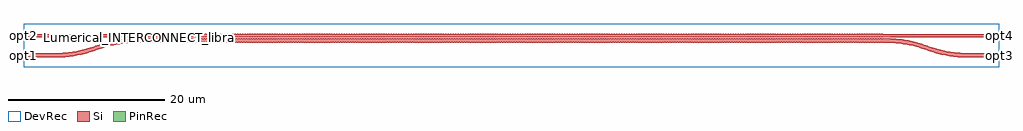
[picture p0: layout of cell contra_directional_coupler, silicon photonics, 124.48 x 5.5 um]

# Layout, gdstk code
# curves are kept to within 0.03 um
import gdstk
lib = gdstk.Library(unit=1e-6, precision=1e-09)
def R(c, l, rs):  # rectangles x0, y0, x1, y1
    for r in rs: c.add(gdstk.rectangle(r[:2], r[2:], *l))
def A(c, l, x, y, w, h, nx, ny, dx, dy):  # array of equal rectangles
    R(c, l, [(x+i*dx, y+j*dy, x+i*dx+w, y+j*dy+h) for i in range(nx) for j in range(ny)])
def P(c, l, *ps):  # polygons
    for p in ps: c.add(gdstk.Polygon(p, *l))
Si = (1, 0)
PinRec = (1, 10)
DevRec = (68, 0)

contra_directional_coupl = lib.new_cell('contra_directional_coupler')
A(contra_directional_coupl, Si, 0.158, -0.636, 0.158, 0.298, 300, 1, 0.316, 0)
A(contra_directional_coupl, Si, 0.316, -0.586, 0.158, 0.248, 300, 1, 0.316, 0)
A(contra_directional_coupl, Si, 0, -0.338, 0.158, 0.298, 300, 1, 0.316, 0)
A(contra_directional_coupl, Si, 0.158, -0.338, 0.158, 0.248, 300, 1, 0.316, 0)
A(contra_directional_coupl, Si, 0, 0.054, 0.158, 0.224, 300, 1, 0.316, 0)
A(contra_directional_coupl, Si, 0.158, 0.078, 0.158, 0.2, 300, 1, 0.316, 0)
A(contra_directional_coupl, Si, 0.158, 0.278, 0.158, 0.224, 300, 1, 0.316, 0)
A(contra_directional_coupl, Si, 0.316, 0.278, 0.158, 0.2, 300, 1, 0.316, 0)
R(contra_directional_coupl, Si, [(0,-0.611,0.158,-0.338), (94.8,-0.338,94.958,-0.066), (-5.5,0.066,0,0.49), (94.8,0.066,94.958,0.278), (94.958,0.066,100.458,0.49), (0,0.278,0.158,0.49)])
P(contra_directional_coupl, Si, [(105.69,-2.495),(104.138,-2.415),(102.602,-2.179),(101.346,-1.864),(99.175,-1.15),(97.713,-0.822),(96.474,-0.663),(94.958,-0.611),(94.958,-0.065),(96.52,-0.12),(97.805,-0.285),(99.321,-0.625),(101.501,-1.341),(102.712,-1.645),(104.442,-1.897),(105.958,-1.95),(105.958,-2.495)],
  [(105.958,-2.494),(105.958,-1.95),(109.708,-1.972),(109.708,-2.472)],
  [(109.708,0.028),(100.458,0.066),(100.458,0.49),(109.708,0.528)],
  [(-11,-2.495),(-11,-1.95),(-9.484,-1.897),(-7.754,-1.645),(-6.543,-1.341),(-4.363,-0.625),(-2.847,-0.285),(-1.562,-0.12),(0,-0.065),(0,-0.611),(-1.516,-0.663),(-3.246,-0.915),(-4.457,-1.219),(-6.637,-1.935),(-8.153,-2.275),(-9.438,-2.44)],
  [(-11,-2.494),(-14.75,-2.472),(-14.75,-1.972),(-11,-1.95)],
  [(-14.75,0.028),(-14.75,0.528),(-5.5,0.49),(-5.5,0.066)])
R(contra_directional_coupl, DevRec, [(-14.75,-3.722,109.708,1.778)])
contra_directional_coupl.add(gdstk.FlexPath([(-14.74,-2.222),(-14.76,-2.222)], 0.5, ends="flush", simple_path=True, layer=1, datatype=10))  # PinRec
contra_directional_coupl.add(gdstk.FlexPath([(-14.74,0.278),(-14.76,0.278)], 0.5, ends="flush", simple_path=True, layer=1, datatype=10))  # PinRec
contra_directional_coupl.add(gdstk.FlexPath([(109.698,-2.222),(109.718,-2.222)], 0.5, ends="flush", simple_path=True, layer=1, datatype=10))  # PinRec
contra_directional_coupl.add(gdstk.FlexPath([(109.698,0.278),(109.718,0.278)], 0.5, ends="flush", simple_path=True, layer=1, datatype=10))  # PinRec
contra_directional_coupl.add(gdstk.Label('opt1', (-14.75,-2.222), layer=1, texttype=10))
contra_directional_coupl.add(gdstk.Label('opt2', (-14.75,0.278), layer=1, texttype=10))
contra_directional_coupl.add(gdstk.Label('opt3', (109.708,-2.222), layer=1, texttype=10))
contra_directional_coupl.add(gdstk.Label('opt4', (109.708,0.278), layer=1, texttype=10))
contra_directional_coupl.add(gdstk.Label('Lumerical_INTERCONNECT_library=Design kits/EBeam', (0,0), layer=68, texttype=0))
contra_directional_coupl.add(gdstk.Label('Component=contra_directional_coupler', (0,0.1), layer=68, texttype=0))

lib.write_gds('contra_directional_coupler.gds')
